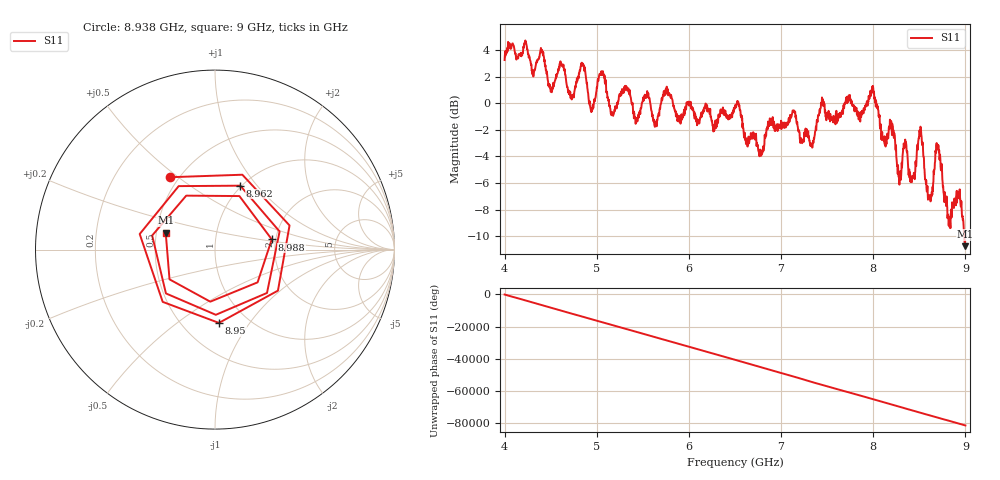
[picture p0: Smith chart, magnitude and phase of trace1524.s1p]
! Created with skrf 1.8.0 (http://scikit-rf.org).
# Hz S RI R 50.0
!freq ReS11 ImS11
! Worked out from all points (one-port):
!   1601 points, 4 GHz to 9 GHz, reference 50 ohm
!   lowest |S11| = -10.7 dB at 9 GHz (marker M1), VSWR 1.82, Z = 28 + j5.75 ohm
!   |S11| at or under -10 dB: 8.988692 GHz to end of sweep
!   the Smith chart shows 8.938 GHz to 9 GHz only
!   S11 on the Smith chart (normalised r, x): 8.938 GHz: 0.45, +0.47; 8.95 GHz: 0.74, -0.73; 8.962 GHz: 0.99, +0.82; 8.988 GHz: 1.91, +0.24; 9 GHz: 0.56, +0.12
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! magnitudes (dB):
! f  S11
! 4 GHz  3.2
! 4.625 GHz  2.9
! 4.731 GHz  0.5
! 4.85 GHz  3.0
! 4.941 GHz  -0.5
! 5.05 GHz  2.4
! 5.162 GHz  -0.7
! 5.25 GHz  0.7
! 5.875 GHz  -1.3
! 6.5 GHz  -0.3
! 6.778 GHz  -3.8
! 7.125 GHz  -0.5
! 7.331 GHz  -3.2
! 7.444 GHz  0.4
! 7.75 GHz  0.2
! 7.991 GHz  1.3
! 8.281 GHz  -5.7
! 8.375 GHz  -4.3
! 8.431 GHz  -5.5
! 8.512 GHz  -1.8
! 8.606 GHz  -7.0
! 8.7 GHz  -3.1
! 8.825 GHz  -9.2
! 8.938 GHz  -6.5
! 8.95 GHz  -7.8
! 8.962 GHz  -8.3
! 8.988 GHz  -9.9
! 9 GHz  -10.7
